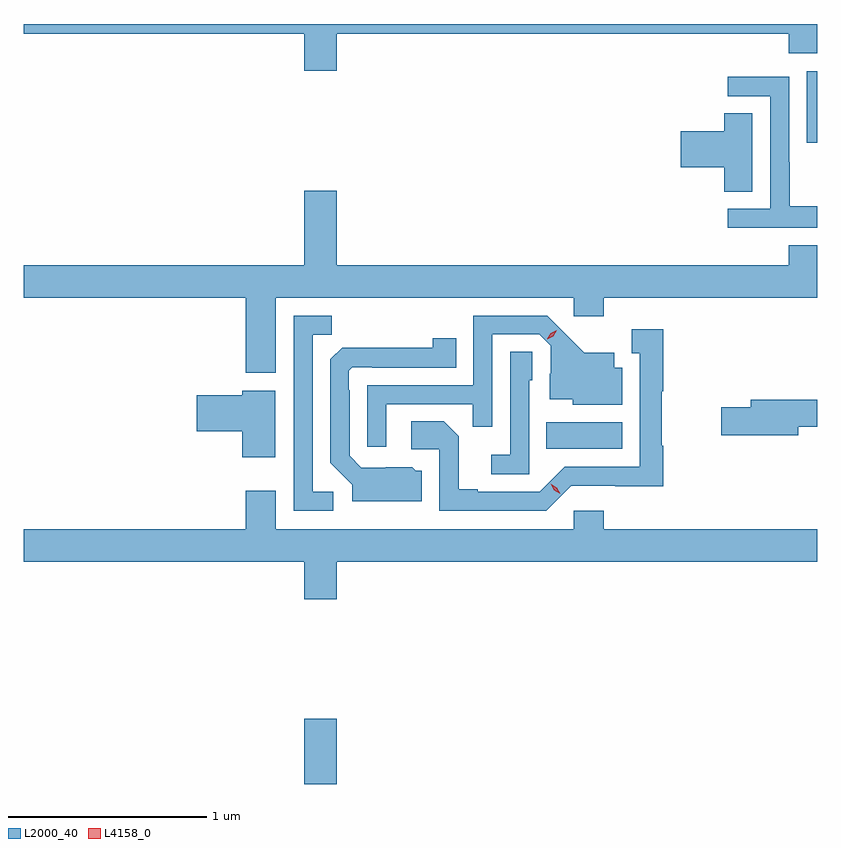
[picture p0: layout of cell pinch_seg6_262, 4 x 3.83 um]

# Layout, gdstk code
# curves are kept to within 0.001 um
import gdstk
lib = gdstk.Library(unit=1e-6, precision=1e-09)
def R(c, l, rs):  # rectangles x0, y0, x1, y1
    for r in rs: c.add(gdstk.rectangle(r[:2], r[2:], *l))
def P(c, l, *ps):  # polygons
    for p in ps: c.add(gdstk.Polygon(p, *l))
L2000_40 = (2000, 40)
L4158_0 = (4158, 0)

pinch_seg6_262 = lib.new_cell('pinch_seg6_262')
R(pinch_seg6_262, L2000_40, [(860.312,994.167,860.476,994.495), (861.532,995.858,861.916,995.992), (862.847,997.401,862.899,997.762)])
P(pinch_seg6_262, L2000_40, [(858.899,997.952),(860.312,997.952),(860.312,997.764),(860.476,997.764),(860.476,997.952),(862.757,997.952),(862.757,997.853),(862.899,997.853),(862.899,998),(858.899,998)],
  [(862.899,997.081),(862.761,997.081),(862.761,997.304),(862.758,997.304),(862.758,997.734),(862.449,997.734),(862.449,997.635),(862.662,997.635),(862.662,997.068),(862.449,997.068),(862.449,996.972),(862.899,996.972)],
  [(862.573,997.55),(862.43,997.55),(862.43,997.46),(862.212,997.46),(862.212,997.277),(862.43,997.277),(862.43,997.153),(862.573,997.153)],
  [(860.17,996.62),(861.672,996.62),(861.672,996.525),(861.824,996.525),(861.824,996.62),(862.899,996.62),(862.899,996.883),(862.757,996.883),(862.757,996.784),(860.476,996.784),(860.476,997.159),(860.312,997.159),(860.312,996.784),(858.899,996.784),(858.899,996.62),(860.018,996.62),(860.018,996.24),(860.17,996.24)],
  [(860.458,995.64),(860.355,995.64),(860.355,996.433),(860.451,996.433),(860.451,996.528),(860.259,996.528),(860.259,995.544),(860.458,995.544)],
  [(860.727,996.081),(861.163,996.081),(861.163,995.968),(861.261,995.968),(861.261,996.435),(861.498,996.435),(861.555,996.378),(861.555,996.236),(861.551,996.236),(861.551,996.107),(861.666,996.107),(861.666,996.08),(861.916,996.08),(861.916,996.267),(861.877,996.267),(861.877,996.343),(861.725,996.343),(861.538,996.528),(861.165,996.528),(861.165,996.177),(860.631,996.177),(860.631,995.868),(860.727,995.868)],
  [(861.66,995.67),(862.123,995.669),(862.123,995.873),(862.115,995.873),(862.115,996.147),(862.123,996.147),(862.123,996.46),(861.965,996.46),(861.965,996.339),(862.004,996.339),(862.004,995.766),(861.627,995.766),(861.501,995.64),(861.187,995.64),(861.187,995.653),(861.093,995.653),(861.093,995.92),(861.017,995.996),(860.853,995.996),(860.853,995.856),(860.994,995.856),(860.994,995.544),(861.534,995.544)],
  [(860.905,995.748),(860.874,995.748),(860.858,995.764),(860.601,995.763),(860.541,995.823),(860.541,996.152),(860.538,996.152),(860.538,996.252),(860.556,996.27),(860.656,996.27),(860.656,996.267),(861.08,996.267),(861.08,996.415),(860.962,996.415),(860.962,996.368),(860.504,996.367),(860.445,996.308),(860.445,995.786),(860.555,995.676),(860.555,995.594),(860.905,995.594)],
  [(861.447,996.204),(861.462,996.204),(861.462,996.347),(861.351,996.347),(861.351,995.827),(861.255,995.827),(861.255,995.73),(861.447,995.73)],
  [(860.167,996.151),(860,996.151),(860,996.128),(859.77,996.128),(859.77,995.945),(860,995.945),(860,995.814),(860.167,995.814)],
  [(862.804,995.968),(862.899,995.968),(862.899,996.104),(862.565,996.104),(862.565,996.068),(862.416,996.068),(862.416,995.926),(862.804,995.926)],
  [(860.476,995.288),(862.899,995.288),(862.899,995.452),(861.824,995.452),(861.824,995.545),(861.672,995.545),(861.672,995.452),(860.17,995.452),(860.17,995.647),(860.018,995.647),(860.018,995.452),(858.899,995.452),(858.899,995.288),(860.312,995.288),(860.312,995.1),(860.476,995.1)])
P(pinch_seg6_262, L4158_0, [(861.605,995.63),(861.573,995.648),(861.555,995.681),(861.555,995.681),(861.556,995.681),(861.587,995.662),(861.605,995.63),(861.605,995.63)],
  [(861.539,996.411),(861.539,996.412),(861.556,996.441),(861.586,996.455),(861.587,996.455),(861.587,996.455),(861.569,996.426),(861.539,996.411)])

lib.write_gds('pinch_seg6_262.gds')
